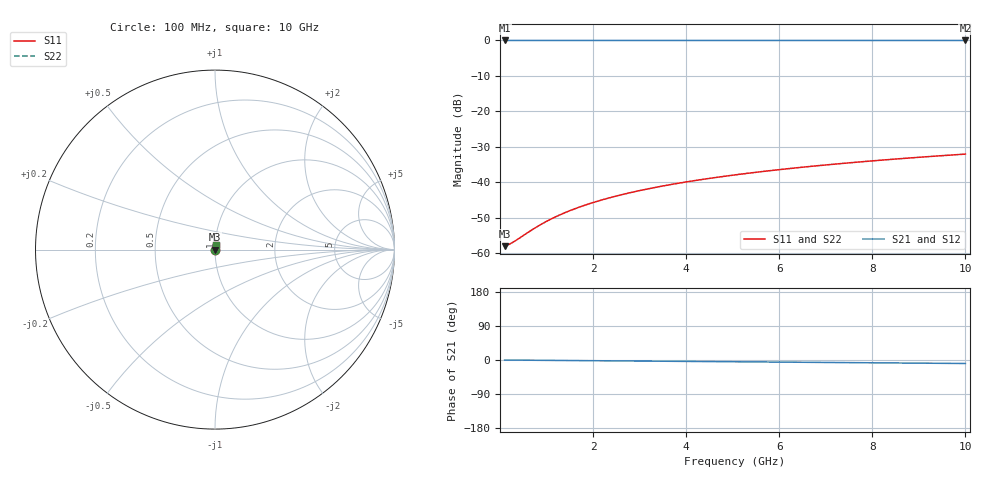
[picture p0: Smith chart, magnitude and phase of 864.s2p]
# Hz S RI R 50.00
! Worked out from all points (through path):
!   100 points, 100 MHz to 10 GHz, reference 50 ohm
!   highest |S21| = -0.01 dB at 100 MHz (marker M1); lowest = 0.0 dB at 10 GHz (marker M2)
!   group delay of S21, straight-line fit = 2.56 ps
!   lowest |S11| = -58.0 dB at 100 MHz (marker M3), VSWR 1.00, Z = 50.1 + j0.0249 ohm
!   |S11| at or under -10 dB: start of sweep to end of sweep
!   |S22| runs from -58.0 to -32.1 dB; largest |S21 - S12| = 0
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1e8  0.00123 0.000249  0.9988 -0.0016  0.9988 -0.0016  0.00123 0.000249
2e8  0.00124 0.000497  0.9988 -0.0032  0.9988 -0.0032  0.00124 0.000497
3e8  0.00125 0.000746  0.9987 -0.00481  0.9987 -0.00481  0.00125 0.000746
6e8  0.00127 0.00149  0.9987 -0.00961  0.9987 -0.00961  0.00127 0.00149
8e8  0.00129 0.00199  0.9986 -0.0128  0.9986 -0.0128  0.00129 0.00199
9e8  0.00129 0.00224  0.9986 -0.0144  0.9986 -0.0144  0.00129 0.00224
1.1e9  0.00131 0.00273  0.9986 -0.0176  0.9986 -0.0176  0.00131 0.00273
1.4e9  0.00135 0.00348  0.9985 -0.0224  0.9985 -0.0224  0.00135 0.00348
1.6e9  0.00138 0.00398  0.9984 -0.0256  0.9984 -0.0256  0.00138 0.00398
1.8e9  0.00141 0.00447  0.9983 -0.0288  0.9983 -0.0288  0.00141 0.00447
2.1e9  0.00146 0.00522  0.9981 -0.0336  0.9981 -0.0336  0.00146 0.00522
2.5e9  0.00153 0.00621  0.9979 -0.0401  0.9979 -0.0401  0.00153 0.00621
2.9e9  0.00162 0.0072  0.9976 -0.0465  0.9976 -0.0465  0.00162 0.0072
3.4e9  0.00176 0.00843  0.9971 -0.0545  0.9971 -0.0545  0.00176 0.00843
3.8e9  0.00187 0.00942  0.9968 -0.0609  0.9968 -0.0609  0.00187 0.00942
4.2e9  0.002 0.0104  0.9963 -0.0673  0.9963 -0.0673  0.002 0.0104
5.1e9  0.00234 0.0126  0.9952 -0.0817  0.9952 -0.0817  0.00234 0.0126
5.9e9  0.0027 0.0146  0.994 -0.0945  0.994 -0.0945  0.0027 0.0146
6.7e9  0.00311 0.0165  0.9927 -0.1073  0.9927 -0.1073  0.00311 0.0165
7.5e9  0.00356 0.0184  0.9912 -0.12  0.9912 -0.12  0.00356 0.0184
8.4e9  0.00414 0.0206  0.9893 -0.1344  0.9893 -0.1344  0.00414 0.0206
1e10  0.00531 0.0244  0.9853 -0.1598  0.9853 -0.1598  0.00531 0.0244
